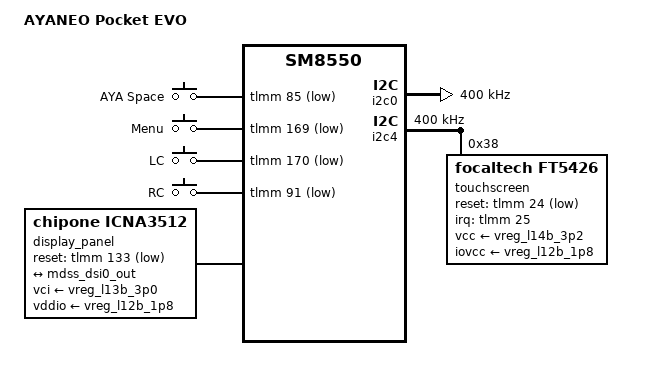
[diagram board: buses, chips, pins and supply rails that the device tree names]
// SPDX-License-Identifier: BSD-3-Clause
/*
 * Copyright (c) 2025, Teguh Sobirin.
 */

/dts-v1/;

#include "qcs8550-ayaneo-pocket-common.dtsi"

/ {
	model = "AYANEO Pocket EVO";
	qcom,board-id = <0x1000b 0x01>;
	qcom,msm-id = <0x258 0x20000>, <0x259 0x20000>;
	compatible = "ayaneo,pocketevo", "qcom,qcs8550", "qcom,sm8550";

	/*
	 * AYA SPACE, =, LC and RC hang off SoC GPIOs on THIS BOARD ONLY. Its five
	 * siblings carry the same four buttons on the controller MCU, where the
	 * `AYANEO DEVICE` 1c4f:0002 keyboard device reports them as BTN3..BTN7 and
	 * the aya9 capability map claims them. The MCU on the EVO does not drive
	 * those lines, so without this node the four buttons are dead: nothing
	 * else in the tree declares them.
	 *
	 * A SEPARATE gpio-keys NODE, not the one in the common dtsi, and that is
	 * deliberate. InputPlumber grabs the source devices it manages, so folding
	 * these into the shared node would take volume up with them.
	 *
	 * F13-F16 RATHER THAN THE VENDOR'S KEY_A / KEY_EQUAL / KEY_LEFT /
	 * KEY_RIGHTSHIFT, which type real characters: those would leak into
	 * whatever has focus during any window where InputPlumber is not grabbing
	 * the node. The `label` is what InputPlumber matches on -- every gpio-keys
	 * instance reports the same hardcoded phys `gpio-keys/input0`
	 * (drivers/input/keyboard/gpio_keys.c), so the name is the only thing that
	 * can tell two of them apart, and it comes from `label` when one is set.
	 *
	 * The GPIOs, bias, drive strength and debounce are the stock Android
	 * device tree's. NOTE ITS LABELS DO NOT MATCH THE CASE MARKINGS: the
	 * silkscreen LC is the vendor's rc2_key (gpio170) and RC is its lc_key
	 * (gpio91). NOT VERIFIED ON OUR HARDWARE -- see the commit that added this
	 * for whose measurement it rests on.
	 */
	aya-keys {
		compatible = "gpio-keys";
		label = "aya-keys";

		pinctrl-0 = <&aya_keys_default>;
		pinctrl-names = "default";

		key-aya-space {
			label = "AYA Space";
			debounce-interval = <15>;
			gpios = <&tlmm 85 GPIO_ACTIVE_LOW>;
			linux,code = <KEY_F13>;
			wakeup-source;
		};

		key-menu {
			label = "Menu";
			debounce-interval = <15>;
			gpios = <&tlmm 169 GPIO_ACTIVE_LOW>;
			linux,code = <KEY_F14>;
			wakeup-source;
		};

		/* Silkscreen LC; the vendor device tree calls this rc2_key. */
		key-lc {
			label = "LC";
			debounce-interval = <15>;
			gpios = <&tlmm 170 GPIO_ACTIVE_LOW>;
			linux,code = <KEY_F15>;
			wakeup-source;
		};

		/* Silkscreen RC; the vendor device tree calls this lc_key. */
		key-rc {
			label = "RC";
			debounce-interval = <15>;
			gpios = <&tlmm 91 GPIO_ACTIVE_LOW>;
			linux,code = <KEY_F16>;
			wakeup-source;
		};
	};
};

&tlmm {
	/*
	 * The buttons short to ground and the pins default to pull-down, so
	 * without this pull-up they read low pressed and unpressed alike and no
	 * press is detectable at all.
	 */
	aya_keys_default: aya-keys-default-state {
		pins = "gpio85", "gpio91", "gpio169", "gpio170";
		function = "gpio";
		drive-strength = <2>;
		bias-pull-up;
	};

	panel_pwr_active: panel-pwr-active-state {
		pins = "gpio152", "gpio153";
		function = "gpio";
		drive-strength = <8>;
		bias-disable;
		output-high;
	};

	ts_reset_active: ts-reset-active-state {
		pins = "gpio24";
		function = "gpio";
		drive-strength = <8>;
		bias-pull-up;
	};

	ts_reset_suspend: ts-reset-suspend-state {
		pins = "gpio24";
		function = "gpio";
		drive-strength = <2>;
		bias-pull-down;
	};

	ts_int_active: ts-int-default-state {
		pins = "gpio25";
		function = "gpio";
		bias-pull-up;
		drive-strength = <8>;
	};

	ts_int_suspend: ts-int-sleep-state {
		pins = "gpio25";
		function = "gpio";
		bias-pull-down;
		drive-strength = <2>;
	};
};

&i2c0 {
	clock-frequency = <400000>;
	status = "okay";

};

&i2c4 {
	clock-frequency = <400000>;
	status = "okay";
	touchscreen: touchscreen@38 {
		compatible = "focaltech,ft5426";
		reg = <0x38>;
		#address-cells = <1>;
		#size-cells = <0>;

		interrupt-parent = <&tlmm>;
		interrupts = <25 IRQ_TYPE_EDGE_FALLING>;

		reset-gpios = <&tlmm 24 GPIO_ACTIVE_LOW>;

		vcc-supply = <&vreg_l14b_3p2>;
		iovcc-supply = <&vreg_l12b_1p8>;

		pinctrl-0 = <&ts_int_active &ts_reset_active>;
		pinctrl-1 = <&ts_int_suspend &ts_reset_suspend>;
		pinctrl-names = "default", "sleep";

		touchscreen-size-x = <1080>;
		touchscreen-size-y = <1920>;
	};
};

&mdss_dsi0_out {
	remote-endpoint = <&panel0_in>;
	data-lanes = <0 1 2 3>;
};

&display_panel {
	compatible = "chipone,icna3512";

	vci-supply = <&vreg_l13b_3p0>;
	vddio-supply = <&vreg_l12b_1p8>;

	reset-gpios = <&tlmm 133 GPIO_ACTIVE_LOW>;

	rotation = <270>;

	port {
		panel0_in: endpoint {
			remote-endpoint = <&mdss_dsi0_out>;
		};
	};
};
